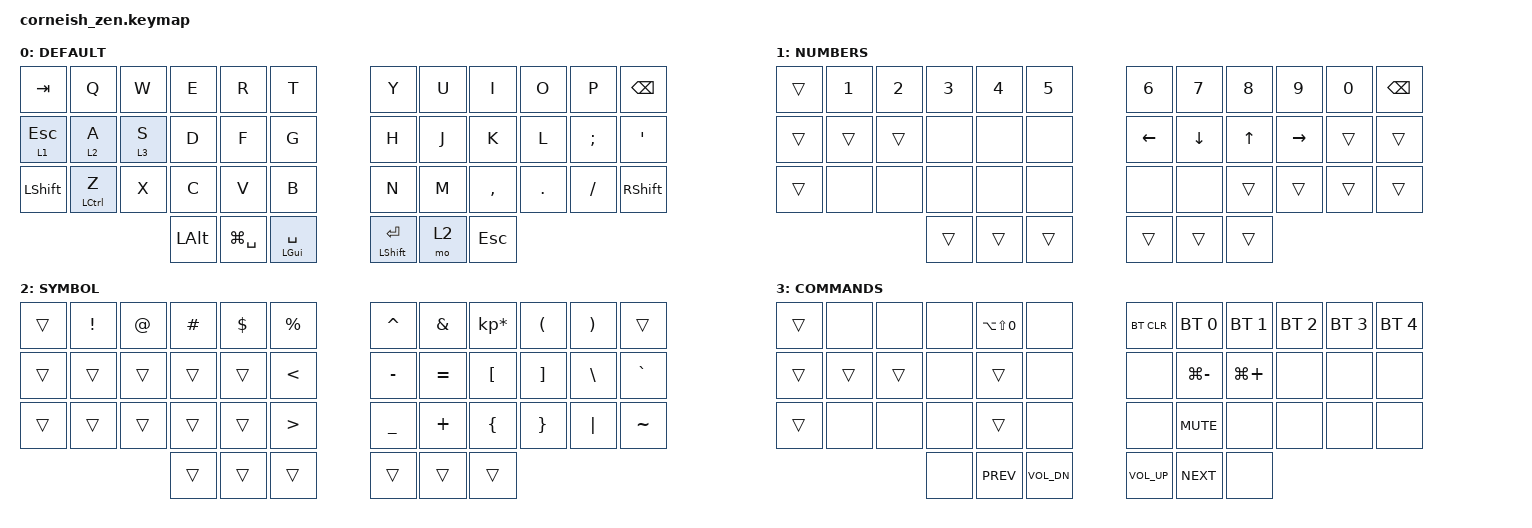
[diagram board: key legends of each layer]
#include <behaviors.dtsi>
#include <dt-bindings/zmk/keys.h>
#include <dt-bindings/zmk/bt.h>

/ {
  chosen {
    zmk,matrix_transform = &default_transform;
    //zmk,matrix_transform = &five_column_transform;
  };
};


/ {
        behaviors {
            hm: homerow_mods {
                compatible = "zmk,behavior-hold-tap";
                label = "HOMEROW_MODS";
                #binding-cells = <2>;
                tapping-term-ms = <300>;
                quick_tap_ms = <0>;
                flavor = "tap-preferred";
                bindings = <&kp>, <&kp>;
            };
        };
        
        keymap {
                compatible = "zmk,keymap";

                default_layer {
                        label = "DEFAULT";
                        bindings = <
   &kp TAB       &kp Q       &kp W          &kp E &kp R &kp T   &kp Y &kp U  &kp I     &kp O   &kp P    &kp BSPC
   &lt 1 ESC     &lt 2 A     &lt 3 S        &kp D &kp F &kp G   &kp H &kp J  &kp K     &kp L   &kp SEMI &kp SQT
   &kp LSHFT     &hm LCTRL Z &kp X          &kp C &kp V &kp B   &kp N &kp M  &kp COMMA &kp DOT &kp FSLH &kp RSHFT
                  &kp LALT &kp LG(SPACE) &hm LGUI SPACE   &hm LSHFT RET &mo 2 &kp ESC
                        >;
                };
                
                lower_layer {
                        label = "NUMBERS";
                        bindings = <
   &trans     &kp N1          &kp N2          &kp N3          &kp N4          &kp N5            &kp N6     &kp N7          &kp N8           &kp N9          &kp N0          &kp BSPC
   &trans     &trans          &trans          &none           &none           &none             &kp LEFT   &kp DOWN        &kp UP           &kp RIGHT       &trans          &trans
   &trans     &none           &none           &none           &none           &none             &none      &none           &trans           &trans         &trans        &trans
                                              &trans        &trans          &trans              &trans  &trans   &trans
                        >;
                };

                raise_layer {
                        label = "SYMBOL";
                        bindings = <
   &trans  &kp EXCL  &kp AT  &kp HASH  &kp DLLR  &kp PRCNT   &kp CARET         &kp AMPS    &kp KP_MULTIPLY &kp LPAR &kp RPAR &trans
   &trans  &trans    &trans  &trans    &trans    &kp LT      &kp MINUS         &kp EQUAL   &kp LBKT        &kp RBKT &kp BSLH &kp GRAVE
   &trans  &trans    &trans  &trans    &trans    &kp GT      &kp UNDERSCORE    &kp PLUS    &kp LBRC        &kp RBRC &kp PIPE &kp TILDE
                                   &trans &trans &trans   &trans &trans &trans
                        >;
                };
                
                commands_layer {
                        label = "COMMANDS";
                        bindings = <
   &trans  &none    &none   &none      &kp LA(LS(N0))      &none              &bt BT_CLR             &bt BT_SEL 0           &bt BT_SEL 1    &bt BT_SEL 2    &bt BT_SEL 3     &bt BT_SEL 4
   &trans  &trans   &trans  &none      &trans              &none              &none                  &kp LG(MINUS)          &kp LG(PLUS)    &none           &none            &none
   &trans  &none    &none   &none      &trans              &none              &none                  &kp K_MUTE             &none           &none           &none            &none
                                         &none &kp K_PREV &kp K_VOL_DN    &kp K_VOL_UP &kp K_NEXT &none
                        >;
                };
        };
};

